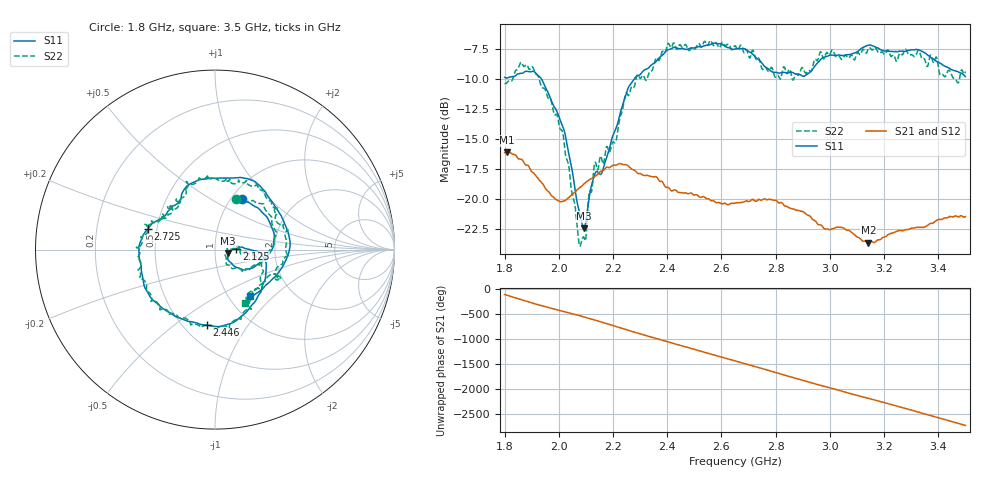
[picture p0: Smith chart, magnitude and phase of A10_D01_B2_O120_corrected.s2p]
! Created with skrf 1.9.0 (http://scikit-rf.org).
# Hz S RI R 50.0
!freq ReS11 ImS11 ReS21 ImS21 ReS12 ImS12 ReS22 ImS22
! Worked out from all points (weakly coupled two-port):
!   1601 points, 1.8 GHz to 3.5 GHz, reference 50 ohm
!   highest |S21| = -16.08 dB at 1.81 GHz (marker M1); lowest = -23.6 dB at 3.142 GHz (marker M2)
!   lowest |S11| = -22.4 dB at 2.093 GHz (marker M3), VSWR 1.16, Z = 57.8 - j2.49 ohm
!   |S11| at or under -10 dB: 1.937 GHz to 2.277 GHz (340.5 MHz wide, 16.2 % of centre)
!   |S22| runs from -23.9 to -6.8 dB; largest |S21 - S12| = 0.0031
!   S11 on the Smith chart (normalised r, x): 1.8 GHz: 1.12, +0.71; 2.125 GHz: 1.27, +0.02; 2.446 GHz: 0.65, -0.66; 2.725 GHz: 0.45, +0.12; 3.5 GHz: 1.25, -0.72
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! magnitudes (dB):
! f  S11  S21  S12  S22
! 1.8 GHz  -9.8  -16.1  -16.1  -10.3
! 1.81 GHz  -9.9  -16.1  -16.1  -10.3
! 1.901 GHz  -9.3  -17.7  -17.6  -8.9
! 1.968 GHz  -11.5  -19.5  -19.6  -11.6
! 2.021 GHz  -14.4  -20.1  -20.1  -15.6
! 2.073 GHz  -20.8  -19.1  -19.1  -23.4
! 2.084 GHz  -21.9  -18.9  -18.9  -23.5
! 2.093 GHz  -22.4  -18.7  -18.8  -23.2
! 2.125 GHz  -18.4  -18.2  -18.2  -18.5
! 2.161 GHz  -17.6  -17.6  -17.5  -17.0
! 2.209 GHz  -14.2  -17.2  -17.1  -15.3
! 2.259 GHz  -10.6  -17.3  -17.3  -11.3
! 2.367 GHz  -8.3  -18.3  -18.3  -8.4
! 2.446 GHz  -7.5  -19.4  -19.4  -7.1
! 2.65 GHz  -7.5  -20.3  -20.3  -7.2
! 2.725 GHz  -8.2  -20.2  -20.1  -8.2
! 2.81 GHz  -9.5  -20.3  -20.2  -9.7
! 2.934 GHz  -9.3  -21.6  -21.6  -9.2
! 3.142 GHz  -7.2  -23.6  -23.5  -7.4
! 3.217 GHz  -7.7  -22.9  -22.9  -7.7
! 3.328 GHz  -7.6  -22.3  -22.3  -7.6
! 3.5 GHz  -9.8  -21.4  -21.4  -9.4
